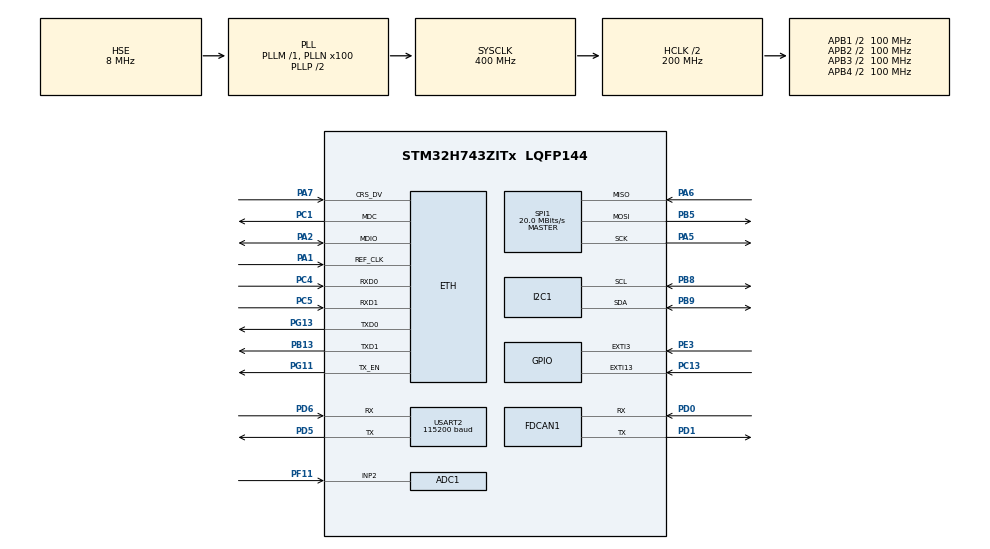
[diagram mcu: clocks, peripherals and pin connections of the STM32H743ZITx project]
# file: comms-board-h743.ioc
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ADC1.Channel-1\#ChannelRegularConversion=ADC_CHANNEL_2
ADC1.NbrOfConversionFlag=1
ADC1.OffsetNumber-1\#ChannelRegularConversion=ADC_OFFSET_NONE
ADC1.OffsetSignedSaturation-1\#ChannelRegularConversion=DISABLE
ADC1.Rank-1\#ChannelRegularConversion=1
ADC1.SamplingTime-1\#ChannelRegularConversion=ADC_SAMPLETIME_1CYCLE_5
ADC1.master=1
CORTEX_M7.AccessPermission_S-Cortex_Memory_Protection_Unit_Region1_Settings_S=MPU_REGION_FULL_ACCESS
CORTEX_M7.AccessPermission_Spec=MPU_REGION_FULL_ACCESS
CORTEX_M7.BaseAddress_S-Cortex_Memory_Protection_Unit_Region1_Settings_S=0x30040000
CORTEX_M7.BaseAddress_Spec=0x30020000
CORTEX_M7.CPU_DCache=Enabled
CORTEX_M7.CPU_ICache=Enabled
CORTEX_M7.DisableExec_S-Cortex_Memory_Protection_Unit_Region1_Settings_S=MPU_INSTRUCTION_ACCESS_DISABLE
CORTEX_M7.DisableExec_Spec=MPU_INSTRUCTION_ACCESS_DISABLE
CORTEX_M7.Enable_S-Cortex_Memory_Protection_Unit_Region1_Settings_S=MPU_REGION_ENABLE
CORTEX_M7.Enable_S-Cortex_Memory_Protection_Unit_Region2_Settings_S=__NULL
CORTEX_M7.Enable_Spec=MPU_REGION_ENABLE
CORTEX_M7.IsBufferable_S-Cortex_Memory_Protection_Unit_Region1_Settings_S=MPU_ACCESS_BUFFERABLE
CORTEX_M7.IsBufferable_Spec=MPU_ACCESS_NOT_BUFFERABLE
CORTEX_M7.IsCacheable_S-Cortex_Memory_Protection_Unit_Region1_Settings_S=MPU_ACCESS_NOT_CACHEABLE
CORTEX_M7.IsCacheable_Spec=MPU_ACCESS_NOT_CACHEABLE
CORTEX_M7.IsShareable_S-Cortex_Memory_Protection_Unit_Region1_Settings_S=MPU_ACCESS_NOT_SHAREABLE
CORTEX_M7.IsShareable_Spec=MPU_ACCESS_NOT_SHAREABLE
CORTEX_M7.Size_S-Cortex_Memory_Protection_Unit_Region1_Settings_S=MPU_REGION_SIZE_512B
CORTEX_M7.Size_Spec=MPU_REGION_SIZE_128KB
CORTEX_M7.SubRegionDisable_Spec=0
CORTEX_M7.TypeExtField_S-Cortex_Memory_Protection_Unit_Region1_Settings_S=MPU_TEX_LEVEL0
CORTEX_M7.TypeExtField_Spec=MPU_TEX_LEVEL1
CORTEX_M7.default_mode_Activation=1
Dma.Request0=USART2_RX
Dma.USART2_RX.0.Direction=DMA_PERIPH_TO_MEMORY
Dma.USART2_RX.0.EventEnable=DISABLE
Dma.USART2_RX.0.FIFOMode=DMA_FIFOMODE_DISABLE
Dma.USART2_RX.0.Instance=DMA1_Stream0
Dma.USART2_RX.0.MemDataAlignment=DMA_MDATAALIGN_BYTE
Dma.USART2_RX.0.MemInc=DMA_MINC_ENABLE
Dma.USART2_RX.0.Mode=DMA_NORMAL
Dma.USART2_RX.0.PeriphDataAlignment=DMA_PDATAALIGN_BYTE
Dma.USART2_RX.0.PeriphInc=DMA_PINC_DISABLE
Dma.USART2_RX.0.Polarity=HAL_DMAMUX_REQ_GEN_RISING
Dma.USART2_RX.0.Priority=DMA_PRIORITY_LOW
Dma.USART2_RX.0.RequestNumber=1
Dma.USART2_RX.0.SignalID=NONE
Dma.USART2_RX.0.SyncEnable=DISABLE
Dma.USART2_RX.0.SyncPolarity=HAL_DMAMUX_SYNC_NO_EVENT
Dma.USART2_RX.0.SyncRequestNumber=1
Dma.USART2_RX.0.SyncSignalID=NONE
ETH.MediaInterface=HAL_ETH_RMII_MODE
ETH.RxBufferAddress=0x30040200
ETH.RxDescAddress=0x30040000
ETH.TxDescAddress=0x30040100
FDCAN1.CalculateBaudRateNominal=1000000
FDCAN1.CalculateTimeBitNominal=1000
FDCAN1.CalculateTimeQuantumNominal=50.0
FDCAN1.DataPrescaler=5
FDCAN1.DataTimeSeg1=15
FDCAN1.DataTimeSeg2=4
FDCAN1.ExtFiltersNbr=1
FDCAN1.NominalPrescaler=5
FDCAN1.NominalTimeSeg1=15
FDCAN1.NominalTimeSeg2=4
FDCAN1.RxFifo0ElmtsNbr=3
FDCAN1.TxFifoQueueElmtsNbr=4
FREERTOS.HEAP_NUMBER=4
FREERTOS.INCLUDE_vTaskDelayUntil=1
FREERTOS.Tasks01=defaultTask,0,1024,StartDefaultTask,Default,NULL,Dynamic,NULL,NULL
FREERTOS.configCHECK_FOR_STACK_OVERFLOW=1
FREERTOS.configENABLE_FPU=0
FREERTOS.configGENERATE_RUN_TIME_STATS=1
FREERTOS.configMAX_PRIORITIES=20
FREERTOS.configMINIMAL_STACK_SIZE=256
FREERTOS.configTOTAL_HEAP_SIZE=262144
FREERTOS.configUSE_NEWLIB_REENTRANT=1
FREERTOS.configUSE_TRACE_FACILITY=1
I2C1.Timing=0x10C0ECFF
LWIP.BSP.number=1
LWIP.GATEWAY_ADDRESS=000.000.000.000
LWIP.IP_ADDRESS=192.168.003.010
LWIP.LWIP_DHCP=0
LWIP.LWIP_NETIF_STATUS_CALLBACK=1
LWIP.LWIP_RAM_HEAP_POINTER=0x30020000
LWIP.MEM_SIZE=131048
LWIP.NETMASK_ADDRESS=255.255.255.000
LWIP.Version=v2.1.2_Cube
LWIP0.BSP.STBoard=false
LWIP0.BSP.api=BSP_COMPONENT_DRIVER
LWIP0.BSP.component=LAN8742
LWIP0.BSP.instance=LAN8742
LWIP0.BSP.name=Driver_PHY
LWIP0.BSP.semaphore=S_LAN8742
LWIP0.BSP.solution=LAN8742
Mcu.Family=STM32H7
Mcu.Name=STM32H743ZITx
Mcu.Package=LQFP144
NUCLEO-H743ZI.BUTTON=1
NUCLEO-H743ZI.LD1=false
NUCLEO-H743ZI.LD2=false
NUCLEO-H743ZI.LD3=false
NUCLEO-H743ZI.VCP=true
NVIC.DMA1_Stream0_IRQn=true\:5\:0\:false\:false\:true\:true\:false\:true\:true
NVIC.ETH_IRQn=true\:5\:0\:false\:false\:true\:true\:true\:true\:true
NVIC.FDCAN1_IT0_IRQn=true\:5\:0\:false\:false\:true\:true\:true\:true\:true
NVIC.FDCAN1_IT1_IRQn=true\:5\:0\:false\:false\:true\:true\:true\:true\:true
NVIC.I2C1_ER_IRQn=true\:5\:0\:true\:false\:true\:true\:true\:true\:true
NVIC.I2C1_EV_IRQn=true\:5\:0\:false\:false\:true\:true\:true\:true\:true
NVIC.PriorityGroup=NVIC_PRIORITYGROUP_4
NVIC.TIM6_DAC_IRQn=true\:15\:0\:false\:false\:true\:false\:false\:true\:true
NVIC.TimeBase=TIM6_DAC_IRQn
NVIC.TimeBaseIP=TIM6
NVIC.USART2_IRQn=true\:5\:0\:true\:false\:true\:true\:true\:true\:true
PA1.GPIO_Speed=GPIO_SPEED_FREQ_VERY_HIGH
PA1.Mode=RMII
PA1.Signal=ETH_REF_CLK
PA13\ (JTMS/SWDIO).GPIO_Label=TMS
PA13\ (JTMS/SWDIO).Signal=DEBUG_JTMS-SWDIO
PA14\ (JTCK/SWCLK).GPIO_Label=TCK
PA14\ (JTCK/SWCLK).Signal=DEBUG_JTCK-SWCLK
PA2.GPIO_Speed=GPIO_SPEED_FREQ_VERY_HIGH
PA2.Mode=RMII
PA2.Signal=ETH_MDIO
PA5.Mode=Full_Duplex_Master
PA5.Signal=SPI1_SCK
PA6.Mode=Full_Duplex_Master
PA6.Signal=SPI1_MISO
PA7.GPIO_Speed=GPIO_SPEED_FREQ_VERY_HIGH
PA7.Mode=RMII
PA7.Signal=ETH_CRS_DV
PB10.Signal=USART3_TX
PB11.Signal=USART3_RX
PB13.GPIO_Speed=GPIO_SPEED_FREQ_VERY_HIGH
PB13.Mode=RMII
PB13.Signal=ETH_TXD1
PB3\ (JTDO/TRACESWO).GPIO_Label=SWO
PB3\ (JTDO/TRACESWO).Signal=DEBUG_JTDO-SWO
PB5.Mode=Full_Duplex_Master
PB5.Signal=SPI1_MOSI
PB8.Mode=I2C
PB8.Signal=I2C1_SCL
PB9.Mode=I2C
PB9.Signal=I2C1_SDA
PC1.GPIO_Speed=GPIO_SPEED_FREQ_VERY_HIGH
PC1.Mode=RMII
PC1.Signal=ETH_MDC
PC13.Signal=GPXTI13
PC14-OSC32_IN\ (OSC32_IN).Signal=RCC_OSC32_IN
PC15-OSC32_OUT\ (OSC32_OUT).Signal=RCC_OSC32_OUT
PC4.GPIO_Speed=GPIO_SPEED_FREQ_VERY_HIGH
PC4.Mode=RMII
PC4.Signal=ETH_RXD0
PC5.GPIO_Speed=GPIO_SPEED_FREQ_VERY_HIGH
PC5.Mode=RMII
PC5.Signal=ETH_RXD1
PD0.GPIO_Speed=GPIO_SPEED_FREQ_VERY_HIGH
PD0.Mode=FDCAN_Activate
PD0.Signal=FDCAN1_RX
PD1.GPIO_Speed=GPIO_SPEED_FREQ_VERY_HIGH
PD1.Mode=FDCAN_Activate
PD1.Signal=FDCAN1_TX
PD5.GPIO_Speed=GPIO_SPEED_FREQ_MEDIUM
PD5.Mode=Asynchronous
PD5.Signal=USART2_TX
PD6.GPIO_Speed=GPIO_SPEED_FREQ_MEDIUM
PD6.Mode=Asynchronous
PD6.Signal=USART2_RX
PE3.GPIO_PuPd=GPIO_PULLDOWN
PE3.Signal=GPXTI3
PE7.GPIO_Speed=GPIO_SPEED_FREQ_HIGH
PE7.Signal=UART7_RX
PE8.GPIO_Speed=GPIO_SPEED_FREQ_HIGH
PE8.Signal=UART7_TX
PF11.Mode=IN2-Single-Ended
PF11.Signal=ADC1_INP2
PG11.GPIO_Speed=GPIO_SPEED_FREQ_VERY_HIGH
PG11.Mode=RMII
PG11.Signal=ETH_TX_EN
PG13.GPIO_Speed=GPIO_SPEED_FREQ_VERY_HIGH
PG13.Mode=RMII
PG13.Signal=ETH_TXD0
PH0-OSC_IN\ (PH0).Mode=HSE-External-Oscillator
PH0-OSC_IN\ (PH0).Signal=RCC_OSC_IN
PH1-OSC_OUT\ (PH1).Mode=HSE-External-Oscillator
PH1-OSC_OUT\ (PH1).Signal=RCC_OSC_OUT
ProjectManager.HeapSize=0x2000
ProjectManager.StackSize=0x1000
ProjectManager.TargetToolchain=CMake
RCC.ADCFreq_Value=80000000
RCC.APB1Freq_Value=100000000
RCC.APB2Freq_Value=100000000
RCC.APB3Freq_Value=100000000
RCC.APB4Freq_Value=100000000
RCC.CKPERSourceSelection=RCC_CLKPSOURCE_HSE
RCC.CortexFreq_Value=400000000
RCC.D1PPRE=RCC_APB3_DIV2
RCC.D2PPRE1=RCC_APB1_DIV2
RCC.D2PPRE2=RCC_APB2_DIV2
RCC.D3PPRE=RCC_APB4_DIV2
RCC.DIVM1=1
RCC.DIVM2=1
RCC.DIVM3=1
RCC.DIVN1=100
RCC.DIVN2=50
RCC.DIVN3=42
RCC.DIVP2=5
RCC.DIVQ1=8
RCC.DIVQ2=5
RCC.DIVQ3=7
RCC.HCLKFreq_Value=200000000
RCC.HPRE=RCC_HCLK_DIV2
RCC.HSE_VALUE=8000000
RCC.PLLSourceVirtual=RCC_PLLSOURCE_HSE
RCC.PWR_Regulator_Voltage_Scale=PWR_REGULATOR_VOLTAGE_SCALE1
RCC.SPI123CLockSelection=RCC_SPI123CLKSOURCE_PLL2
RCC.SPI6CLockSelection=RCC_SPI6CLKSOURCE_PLL2
RCC.SYSCLKFreq_VALUE=400000000
RCC.SYSCLKSource=RCC_SYSCLKSOURCE_PLLCLK
RCC.USBCLockSelection=RCC_USBCLKSOURCE_PLL3
RCC.USBFreq_Value=48000000
SPI1.BaudRatePrescaler=SPI_BAUDRATEPRESCALER_4
SPI1.CLKPolarity=SPI_POLARITY_LOW
SPI1.CalculateBaudRate=20.0 MBits/s
SPI1.DataSize=SPI_DATASIZE_8BIT
SPI1.Direction=SPI_DIRECTION_2LINES
SPI1.IOSwap=SPI_IO_SWAP_DISABLE
SPI1.Mode=SPI_MODE_MASTER
SPI1.NSSPMode=SPI_NSS_PULSE_DISABLE
SPI1.VirtualType=VM_MASTER
STMicroelectronics.X-CUBE-ALGOBUILD.1.4.0.LibraryCcDSPOoLibraryJjDSPOoLibrary=true
USART2.BaudRate=115200
USART2.FIFOMode=FIFOMODE_DISABLE
USART2.VirtualMode-Asynchronous=VM_ASYNC
VP_FREERTOS_VS_CMSIS_V1.Mode=CMSIS_V1
VP_LWIP_VS_Enabled.Mode=Enabled
VP_MEMORYMAP_VS_MEMORYMAP.Mode=CurAppReg
VP_STMicroelectronics.X-CUBE-ALGOBUILD_VS_DSPOoLibraryJjLibrary_1.4.0_1.4.0.Mode=DSPOoLibraryJjLibrary
VP_SYS_VS_tim6.Mode=TIM6
board=NUCLEO-H743ZI

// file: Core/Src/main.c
/* USER CODE BEGIN Header */
/**
  ******************************************************************************
  * @file           : main.c
  * @brief          : Main program body
  ******************************************************************************
  * @attention
  *
  * Copyright (c) 2025 STMicroelectronics.
  * All rights reserved.
  *
  * This software is licensed under terms that can be found in the LICENSE file
  * in the root directory of this software component.
  * If no LICENSE file comes with this software, it is provided AS-IS.
  *
  ******************************************************************************
  */
/* USER CODE END Header */
#include "main.h"
#include "cmsis_os.h"
#include "lwip.h"

/* USER CODE BEGIN Includes */
#include "linenoise.h"
#include "cmdline.h"
#include "cli_kit.h"
#include "MainTask.h"
// #include "KugleMainTask.h"
#include "DigiLed.h"
#include "WS2812.h"
/* USER CODE END Includes */

/* USER CODE BEGIN PD */
#define LINE_BUFFER_SIZE 128
/* USER CODE END PD */

ADC_HandleTypeDef hadc1;

FDCAN_HandleTypeDef hfdcan1;

I2C_HandleTypeDef hi2c1;

SPI_HandleTypeDef hspi1;

UART_HandleTypeDef huart2;
DMA_HandleTypeDef hdma_usart2_rx;

osThreadId defaultTaskHandle;
/* USER CODE BEGIN PV */
static char g_lineBuffer[LINE_BUFFER_SIZE];
/* USER CODE END PV */

void SystemClock_Config(void);
void PeriphCommonClock_Config(void);
static void MPU_Config(void);
static void MX_GPIO_Init(void);
static void MX_DMA_Init(void);
static void MX_FDCAN1_Init(void);
static void MX_USART2_UART_Init(void);
static void MX_ADC1_Init(void);
static void MX_I2C1_Init(void);
static void MX_SPI1_Init(void);
void StartDefaultTask(void const * argument);

/* USER CODE BEGIN 0 */
__attribute__ ((used,section(".freertos_heap_ucHeap"))) uint8_t ucHeap[ configTOTAL_HEAP_SIZE ];

#if (configCHECK_FOR_STACK_OVERFLOW == 1)
void vApplicationStackOverflowHook(TaskHandle_t xTask,char * pcTaskName )
{
	portDISABLE_INTERRUPTS();
	printf("\r\nStack overflow!\r\n");
  if (pcTaskName) {
    printf("Task name: %s\r\n", pcTaskName);
  } else {
    printf("Task handle: 0x%x\r\n", xTask);
  }
	while(1);
}
#endif
/* USER CODE END 0 */

int main(void)
{

  /* MPU Configuration--------------------------------------------------------*/
  MPU_Config();

  /* Enable the CPU Cache */

  /* Enable I-Cache---------------------------------------------------------*/
  SCB_EnableICache();

  /* Enable D-Cache---------------------------------------------------------*/
  SCB_EnableDCache();

  /* MCU Configuration--------------------------------------------------------*/

  /* Reset of all peripherals, Initializes the Flash interface and the Systick. */
  HAL_Init();

  /* Configure the system clock */
  SystemClock_Config();

  /* Configure the peripherals common clocks */
  PeriphCommonClock_Config();

  /* Initialize all configured peripherals */
  MX_GPIO_Init();
  MX_DMA_Init();
  MX_FDCAN1_Init();
  MX_USART2_UART_Init();
  MX_ADC1_Init();
  MX_I2C1_Init();
  MX_SPI1_Init();
  /* USER CODE BEGIN 2 */
//   DigiLed_init(&hspi1);
  WS2812_init(&hspi1);
  /* USER CODE END 2 */

  /* Create the thread(s) */
  /* definition and creation of defaultTask */
  osThreadDef(defaultTask, StartDefaultTask, osPriorityNormal, 0, 1024);
  defaultTaskHandle = osThreadCreate(osThread(defaultTask), NULL);

  /* Start scheduler */
  osKernelStart();

  /* We should never get here as control is now taken by the scheduler */

  /* Infinite loop */
  while (1)
  {

  }
}

void SystemClock_Config(void)
{
  RCC_OscInitTypeDef RCC_OscInitStruct = {0};
  RCC_ClkInitTypeDef RCC_ClkInitStruct = {0};

  /** Supply configuration update enable
  */
  HAL_PWREx_ConfigSupply(PWR_LDO_SUPPLY);

  /** Configure the main internal regulator output voltage
  */
  __HAL_PWR_VOLTAGESCALING_CONFIG(PWR_REGULATOR_VOLTAGE_SCALE1);

  while(!__HAL_PWR_GET_FLAG(PWR_FLAG_VOSRDY)) {}

  /** Initializes the RCC Oscillators according to the specified parameters
  * in the RCC_OscInitTypeDef structure.
  */
  RCC_OscInitStruct.OscillatorType = RCC_OSCILLATORTYPE_HSE;
  RCC_OscInitStruct.HSEState = RCC_HSE_ON;
  RCC_OscInitStruct.PLL.PLLState = RCC_PLL_ON;
  RCC_OscInitStruct.PLL.PLLSource = RCC_PLLSOURCE_HSE;
  RCC_OscInitStruct.PLL.PLLM = 1;
  RCC_OscInitStruct.PLL.PLLN = 100;
  RCC_OscInitStruct.PLL.PLLP = 2;
  RCC_OscInitStruct.PLL.PLLQ = 8;
  RCC_OscInitStruct.PLL.PLLR = 2;
  RCC_OscInitStruct.PLL.PLLRGE = RCC_PLL1VCIRANGE_3;
  RCC_OscInitStruct.PLL.PLLVCOSEL = RCC_PLL1VCOWIDE;
  RCC_OscInitStruct.PLL.PLLFRACN = 0;
  if (HAL_RCC_OscConfig(&RCC_OscInitStruct) != HAL_OK)
  {
    Error_Handler();
  }

  /** Initializes the CPU, AHB and APB buses clocks
  */
  RCC_ClkInitStruct.ClockType = RCC_CLOCKTYPE_HCLK|RCC_CLOCKTYPE_SYSCLK
                              |RCC_CLOCKTYPE_PCLK1|RCC_CLOCKTYPE_PCLK2
                              |RCC_CLOCKTYPE_D3PCLK1|RCC_CLOCKTYPE_D1PCLK1;
  RCC_ClkInitStruct.SYSCLKSource = RCC_SYSCLKSOURCE_PLLCLK;
  RCC_ClkInitStruct.SYSCLKDivider = RCC_SYSCLK_DIV1;
  RCC_ClkInitStruct.AHBCLKDivider = RCC_HCLK_DIV2;
  RCC_ClkInitStruct.APB3CLKDivider = RCC_APB3_DIV2;
  RCC_ClkInitStruct.APB1CLKDivider = RCC_APB1_DIV2;
  RCC_ClkInitStruct.APB2CLKDivider = RCC_APB2_DIV2;
  RCC_ClkInitStruct.APB4CLKDivider = RCC_APB4_DIV2;

  if (HAL_RCC_ClockConfig(&RCC_ClkInitStruct, FLASH_LATENCY_2) != HAL_OK)
  {
    Error_Handler();
  }
}

void PeriphCommonClock_Config(void)
{
  RCC_PeriphCLKInitTypeDef PeriphClkInitStruct = {0};

  /** Initializes the peripherals clock
  */
  PeriphClkInitStruct.PeriphClockSelection = RCC_PERIPHCLK_ADC|RCC_PERIPHCLK_SPI1;
  PeriphClkInitStruct.PLL2.PLL2M = 1;
  PeriphClkInitStruct.PLL2.PLL2N = 50;
  PeriphClkInitStruct.PLL2.PLL2P = 5;
  PeriphClkInitStruct.PLL2.PLL2Q = 5;
  PeriphClkInitStruct.PLL2.PLL2R = 2;
  PeriphClkInitStruct.PLL2.PLL2RGE = RCC_PLL2VCIRANGE_3;
  PeriphClkInitStruct.PLL2.PLL2VCOSEL = RCC_PLL2VCOWIDE;
  PeriphClkInitStruct.PLL2.PLL2FRACN = 0;
  PeriphClkInitStruct.Spi123ClockSelection = RCC_SPI123CLKSOURCE_PLL2;
  PeriphClkInitStruct.AdcClockSelection = RCC_ADCCLKSOURCE_PLL2;
  if (HAL_RCCEx_PeriphCLKConfig(&PeriphClkInitStruct) != HAL_OK)
  {
    Error_Handler();
  }
}

static void MX_ADC1_Init(void)
{

  ADC_MultiModeTypeDef multimode = {0};
  ADC_ChannelConfTypeDef sConfig = {0};

  /** Common config
  */
  hadc1.Instance = ADC1;
  hadc1.Init.ClockPrescaler = ADC_CLOCK_ASYNC_DIV1;
  hadc1.Init.Resolution = ADC_RESOLUTION_16B;
  hadc1.Init.ScanConvMode = ADC_SCAN_DISABLE;
  hadc1.Init.EOCSelection = ADC_EOC_SINGLE_CONV;
  hadc1.Init.LowPowerAutoWait = DISABLE;
  hadc1.Init.ContinuousConvMode = DISABLE;
  hadc1.Init.NbrOfConversion = 1;
  hadc1.Init.DiscontinuousConvMode = DISABLE;
  hadc1.Init.ExternalTrigConv = ADC_SOFTWARE_START;
  hadc1.Init.ExternalTrigConvEdge = ADC_EXTERNALTRIGCONVEDGE_NONE;
  hadc1.Init.ConversionDataManagement = ADC_CONVERSIONDATA_DR;
  hadc1.Init.Overrun = ADC_OVR_DATA_PRESERVED;
  hadc1.Init.LeftBitShift = ADC_LEFTBITSHIFT_NONE;
  hadc1.Init.OversamplingMode = DISABLE;
  hadc1.Init.Oversampling.Ratio = 1;
  if (HAL_ADC_Init(&hadc1) != HAL_OK)
  {
    Error_Handler();
  }

  /** Configure the ADC multi-mode
  */
  multimode.Mode = ADC_MODE_INDEPENDENT;
  if (HAL_ADCEx_MultiModeConfigChannel(&hadc1, &multimode) != HAL_OK)
  {
    Error_Handler();
  }

  /** Configure Regular Channel
  */
  sConfig.Channel = ADC_CHANNEL_2;
  sConfig.Rank = ADC_REGULAR_RANK_1;
  sConfig.SamplingTime = ADC_SAMPLETIME_1CYCLE_5;
  sConfig.SingleDiff = ADC_SINGLE_ENDED;
  sConfig.OffsetNumber = ADC_OFFSET_NONE;
  sConfig.Offset = 0;
  sConfig.OffsetSignedSaturation = DISABLE;
  if (HAL_ADC_ConfigChannel(&hadc1, &sConfig) != HAL_OK)
  {
    Error_Handler();
  }

}

static void MX_FDCAN1_Init(void)
{

  hfdcan1.Instance = FDCAN1;
  hfdcan1.Init.FrameFormat = FDCAN_FRAME_CLASSIC;
  hfdcan1.Init.Mode = FDCAN_MODE_NORMAL;
  hfdcan1.Init.AutoRetransmission = DISABLE;
  hfdcan1.Init.TransmitPause = DISABLE;
  hfdcan1.Init.ProtocolException = DISABLE;
  hfdcan1.Init.NominalPrescaler = 5;
  hfdcan1.Init.NominalSyncJumpWidth = 1;
  hfdcan1.Init.NominalTimeSeg1 = 15;
  hfdcan1.Init.NominalTimeSeg2 = 4;
  hfdcan1.Init.DataPrescaler = 5;
  hfdcan1.Init.DataSyncJumpWidth = 1;
  hfdcan1.Init.DataTimeSeg1 = 15;
  hfdcan1.Init.DataTimeSeg2 = 4;
  hfdcan1.Init.MessageRAMOffset = 0;
  hfdcan1.Init.StdFiltersNbr = 0;
  hfdcan1.Init.ExtFiltersNbr = 1;
  hfdcan1.Init.RxFifo0ElmtsNbr = 3;
  hfdcan1.Init.RxFifo0ElmtSize = FDCAN_DATA_BYTES_8;
  hfdcan1.Init.RxFifo1ElmtsNbr = 0;
  hfdcan1.Init.RxFifo1ElmtSize = FDCAN_DATA_BYTES_8;
  hfdcan1.Init.RxBuffersNbr = 0;
  hfdcan1.Init.RxBufferSize = FDCAN_DATA_BYTES_8;
  hfdcan1.Init.TxEventsNbr = 0;
  hfdcan1.Init.TxBuffersNbr = 0;
  hfdcan1.Init.TxFifoQueueElmtsNbr = 4;
  hfdcan1.Init.TxFifoQueueMode = FDCAN_TX_FIFO_OPERATION;
  hfdcan1.Init.TxElmtSize = FDCAN_DATA_BYTES_8;
  if (HAL_FDCAN_Init(&hfdcan1) != HAL_OK)
  {
    Error_Handler();
  }

}

static void MX_I2C1_Init(void)
{

  hi2c1.Instance = I2C1;
  hi2c1.Init.Timing = 0x10C0ECFF;
  hi2c1.Init.OwnAddress1 = 0;
  hi2c1.Init.AddressingMode = I2C_ADDRESSINGMODE_7BIT;
  hi2c1.Init.DualAddressMode = I2C_DUALADDRESS_DISABLE;
  hi2c1.Init.OwnAddress2 = 0;
  hi2c1.Init.OwnAddress2Masks = I2C_OA2_NOMASK;
  hi2c1.Init.GeneralCallMode = I2C_GENERALCALL_DISABLE;
  hi2c1.Init.NoStretchMode = I2C_NOSTRETCH_DISABLE;
  if (HAL_I2C_Init(&hi2c1) != HAL_OK)
  {
    Error_Handler();
  }

  /** Configure Analogue filter
  */
  if (HAL_I2CEx_ConfigAnalogFilter(&hi2c1, I2C_ANALOGFILTER_ENABLE) != HAL_OK)
  {
    Error_Handler();
  }

  /** Configure Digital filter
  */
  if (HAL_I2CEx_ConfigDigitalFilter(&hi2c1, 0) != HAL_OK)
  {
    Error_Handler();
  }

}

static void MX_SPI1_Init(void)
{

  /* SPI1 parameter configuration*/
  hspi1.Instance = SPI1;
  hspi1.Init.Mode = SPI_MODE_MASTER;
  hspi1.Init.Direction = SPI_DIRECTION_2LINES;
  hspi1.Init.DataSize = SPI_DATASIZE_8BIT;
  hspi1.Init.CLKPolarity = SPI_POLARITY_LOW;
  hspi1.Init.CLKPhase = SPI_PHASE_1EDGE;
  hspi1.Init.NSS = SPI_NSS_SOFT;
  hspi1.Init.BaudRatePrescaler = SPI_BAUDRATEPRESCALER_4;
  hspi1.Init.FirstBit = SPI_FIRSTBIT_MSB;
  hspi1.Init.TIMode = SPI_TIMODE_DISABLE;
  hspi1.Init.CRCCalculation = SPI_CRCCALCULATION_DISABLE;
  hspi1.Init.CRCPolynomial = 0x0;
  hspi1.Init.NSSPMode = SPI_NSS_PULSE_DISABLE;
  hspi1.Init.NSSPolarity = SPI_NSS_POLARITY_LOW;
  hspi1.Init.FifoThreshold = SPI_FIFO_THRESHOLD_01DATA;
  hspi1.Init.TxCRCInitializationPattern = SPI_CRC_INITIALIZATION_ALL_ZERO_PATTERN;
  hspi1.Init.RxCRCInitializationPattern = SPI_CRC_INITIALIZATION_ALL_ZERO_PATTERN;
  hspi1.Init.MasterSSIdleness = SPI_MASTER_SS_IDLENESS_00CYCLE;
  hspi1.Init.MasterInterDataIdleness = SPI_MASTER_INTERDATA_IDLENESS_00CYCLE;
  hspi1.Init.MasterReceiverAutoSusp = SPI_MASTER_RX_AUTOSUSP_DISABLE;
  hspi1.Init.MasterKeepIOState = SPI_MASTER_KEEP_IO_STATE_DISABLE;
  hspi1.Init.IOSwap = SPI_IO_SWAP_DISABLE;
  if (HAL_SPI_Init(&hspi1) != HAL_OK)
  {
    Error_Handler();
  }

}

static void MX_USART2_UART_Init(void)
{

  huart2.Instance = USART2;
  huart2.Init.BaudRate = 115200;
  huart2.Init.WordLength = UART_WORDLENGTH_8B;
  huart2.Init.StopBits = UART_STOPBITS_1;
  huart2.Init.Parity = UART_PARITY_NONE;
  huart2.Init.Mode = UART_MODE_TX_RX;
  huart2.Init.HwFlowCtl = UART_HWCONTROL_NONE;
  huart2.Init.OverSampling = UART_OVERSAMPLING_16;
  huart2.Init.OneBitSampling = UART_ONE_BIT_SAMPLE_DISABLE;
  huart2.Init.ClockPrescaler = UART_PRESCALER_DIV1;
  huart2.AdvancedInit.AdvFeatureInit = UART_ADVFEATURE_NO_INIT;
  if (HAL_UART_Init(&huart2) != HAL_OK)
  {
    Error_Handler();
  }
  if (HAL_UARTEx_SetTxFifoThreshold(&huart2, UART_TXFIFO_THRESHOLD_1_8) != HAL_OK)
  {
    Error_Handler();
  }
  if (HAL_UARTEx_SetRxFifoThreshold(&huart2, UART_RXFIFO_THRESHOLD_1_8) != HAL_OK)
  {
    Error_Handler();
  }
  if (HAL_UARTEx_DisableFifoMode(&huart2) != HAL_OK)
  {
    Error_Handler();
  }

}

static void MX_DMA_Init(void)
{

  /* DMA controller clock enable */
  __HAL_RCC_DMA1_CLK_ENABLE();

  /* DMA interrupt init */
  /* DMA1_Stream0_IRQn interrupt configuration */
  HAL_NVIC_SetPriority(DMA1_Stream0_IRQn, 5, 0);
  HAL_NVIC_EnableIRQ(DMA1_Stream0_IRQn);

}

static void MX_GPIO_Init(void)
{
  GPIO_InitTypeDef GPIO_InitStruct = {0};

  /* GPIO Ports Clock Enable */
  __HAL_RCC_GPIOE_CLK_ENABLE();
  __HAL_RCC_GPIOC_CLK_ENABLE();
  __HAL_RCC_GPIOH_CLK_ENABLE();
  __HAL_RCC_GPIOA_CLK_ENABLE();
  __HAL_RCC_GPIOF_CLK_ENABLE();
  __HAL_RCC_GPIOB_CLK_ENABLE();
  __HAL_RCC_GPIOD_CLK_ENABLE();
  __HAL_RCC_GPIOG_CLK_ENABLE();

  /*Configure GPIO pin : PE3 */
  GPIO_InitStruct.Pin = GPIO_PIN_3;
  GPIO_InitStruct.Mode = GPIO_MODE_IT_RISING;
  GPIO_InitStruct.Pull = GPIO_PULLDOWN;
  HAL_GPIO_Init(GPIOE, &GPIO_InitStruct);

  /*Configure GPIO pin : PC13 */
  GPIO_InitStruct.Pin = GPIO_PIN_13;
  GPIO_InitStruct.Mode = GPIO_MODE_IT_RISING;
  GPIO_InitStruct.Pull = GPIO_NOPULL;
  HAL_GPIO_Init(GPIOC, &GPIO_InitStruct);

  /*Configure GPIO pins : PE7 PE8 */
  GPIO_InitStruct.Pin = GPIO_PIN_7|GPIO_PIN_8;
  GPIO_InitStruct.Mode = GPIO_MODE_AF_PP;
  GPIO_InitStruct.Pull = GPIO_NOPULL;
  GPIO_InitStruct.Speed = GPIO_SPEED_FREQ_HIGH;
  GPIO_InitStruct.Alternate = GPIO_AF7_UART7;
  HAL_GPIO_Init(GPIOE, &GPIO_InitStruct);

  /*Configure GPIO pins : PB10 PB11 */
  GPIO_InitStruct.Pin = GPIO_PIN_10|GPIO_PIN_11;
  GPIO_InitStruct.Mode = GPIO_MODE_AF_PP;
  GPIO_InitStruct.Pull = GPIO_NOPULL;
  GPIO_InitStruct.Speed = GPIO_SPEED_FREQ_LOW;
  GPIO_InitStruct.Alternate = GPIO_AF7_USART3;
  HAL_GPIO_Init(GPIOB, &GPIO_InitStruct);

  /* USER CODE BEGIN MX_GPIO_Init_2 */

//  BSP_LED_Init(LED_GREEN);
//  BSP_LED_On(LED_GREEN);
  /* USER CODE END MX_GPIO_Init_2 */
}

void StartDefaultTask(void const * argument)
{
  /* init code for LWIP */
  MX_LWIP_Init();
  /* USER CODE BEGIN 5 */

  printf("Hello World!\r\n");

  CliKitInit();
  MainTask(argument);
  // KugleMainTask(argument);

  const char* prompt = "CLI> ";
  // set input/output immediately
  setvbuf(stdin,NULL,_IONBF,0);
  setvbuf(stdout,NULL,_IONBF,0);
  linenoiseSetLineBuffer(g_lineBuffer, LINE_BUFFER_SIZE);
  linenoiseSetDumbMode(1);
  /* Infinite loop */
  uint32_t rgb;
  for(;;)
  {
    // for (int i = 0; i < 24; i++) {
    //     rgb = 0x1 << i;
    //     // global_brightness_effect(rgb, 1000);
    //     // WS2812_global_brightness_effect(rgb);

    // }
    WS2812_global_brightness_effect();

    // char* line = linenoise(prompt);
    // /* Ignore empty lines */
    // if (line == NULL || line[0] == '\0' || line[0] == '\n' || line[0] == '\r') {
    //   continue;
    // }

    // cmdline_process_command(line);

    // /* linenoise allocates line buffer on the heap, so need to free it */
    // linenoiseFree(line);
    // osDelay(500);
  }
  /* USER CODE END 5 */
}

 /* MPU Configuration */

void MPU_Config(void)
{
  MPU_Region_InitTypeDef MPU_InitStruct = {0};

  /* Disables the MPU */
  HAL_MPU_Disable();

  /** Initializes and configures the Region and the memory to be protected
  */
  MPU_InitStruct.Enable = MPU_REGION_ENABLE;
  MPU_InitStruct.Number = MPU_REGION_NUMBER0;
  MPU_InitStruct.BaseAddress = 0x30020000;
  MPU_InitStruct.Size = MPU_REGION_SIZE_128KB;
  MPU_InitStruct.SubRegionDisable = 0;
  MPU_InitStruct.TypeExtField = MPU_TEX_LEVEL1;
  MPU_InitStruct.AccessPermission = MPU_REGION_FULL_ACCESS;
  MPU_InitStruct.DisableExec = MPU_INSTRUCTION_ACCESS_DISABLE;
  MPU_InitStruct.IsShareable = MPU_ACCESS_NOT_SHAREABLE;
  MPU_InitStruct.IsCacheable = MPU_ACCESS_NOT_CACHEABLE;
  MPU_InitStruct.IsBufferable = MPU_ACCESS_NOT_BUFFERABLE;

  HAL_MPU_ConfigRegion(&MPU_InitStruct);

  /** Initializes and configures the Region and the memory to be protected
  */
  MPU_InitStruct.Number = MPU_REGION_NUMBER1;
  MPU_InitStruct.BaseAddress = 0x30040000;
  MPU_InitStruct.Size = MPU_REGION_SIZE_512B;
  MPU_InitStruct.SubRegionDisable = 0x0;
  MPU_InitStruct.TypeExtField = MPU_TEX_LEVEL0;
  MPU_InitStruct.IsBufferable = MPU_ACCESS_BUFFERABLE;

  HAL_MPU_ConfigRegion(&MPU_InitStruct);
  /* Enables the MPU */
  HAL_MPU_Enable(MPU_PRIVILEGED_DEFAULT);

}

void HAL_TIM_PeriodElapsedCallback(TIM_HandleTypeDef *htim)
{
  if (htim->Instance == TIM6)
  {
    HAL_IncTick();
  }
}

void Error_Handler(void)
{
  __disable_irq();
  while (1)
  {
  }
}

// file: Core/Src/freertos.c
/* USER CODE BEGIN Header */
/**
  ******************************************************************************
  * File Name          : freertos.c
  * Description        : Code for freertos applications
  ******************************************************************************
  * @attention
  *
  * Copyright (c) 2025 STMicroelectronics.
  * All rights reserved.
  *
  * This software is licensed under terms that can be found in the LICENSE file
  * in the root directory of this software component.
  * If no LICENSE file comes with this software, it is provided AS-IS.
  *
  ******************************************************************************
  */
/* USER CODE END Header */

#include "FreeRTOS.h"
#include "task.h"
#include "main.h"

/* GetIdleTaskMemory prototype (linked to static allocation support) */
void vApplicationGetIdleTaskMemory( StaticTask_t **ppxIdleTaskTCBBuffer, StackType_t **ppxIdleTaskStackBuffer, uint32_t *pulIdleTaskStackSize );

/* Hook prototypes */
void configureTimerForRunTimeStats(void);
unsigned long getRunTimeCounterValue(void);
void vApplicationStackOverflowHook(xTaskHandle xTask, signed char *pcTaskName);

/* USER CODE BEGIN 1 */
/* Functions needed when configGENERATE_RUN_TIME_STATS is on */
__weak void configureTimerForRunTimeStats(void)
{

}

__weak unsigned long getRunTimeCounterValue(void)
{
return 0;
}
/* USER CODE END 1 */

/* USER CODE BEGIN 4 */
__weak void vApplicationStackOverflowHook(xTaskHandle xTask, signed char *pcTaskName)
{
   /* Run time stack overflow checking is performed if
   configCHECK_FOR_STACK_OVERFLOW is defined to 1 or 2. This hook function is
   called if a stack overflow is detected. */
}
/* USER CODE END 4 */

/* USER CODE BEGIN GET_IDLE_TASK_MEMORY */
static StaticTask_t xIdleTaskTCBBuffer;
static StackType_t xIdleStack[configMINIMAL_STACK_SIZE];

void vApplicationGetIdleTaskMemory( StaticTask_t **ppxIdleTaskTCBBuffer, StackType_t **ppxIdleTaskStackBuffer, uint32_t *pulIdleTaskStackSize )
{
  *ppxIdleTaskTCBBuffer = &xIdleTaskTCBBuffer;
  *ppxIdleTaskStackBuffer = &xIdleStack[0];
  *pulIdleTaskStackSize = configMINIMAL_STACK_SIZE;
  /* place for user code */
}
/* USER CODE END GET_IDLE_TASK_MEMORY */
